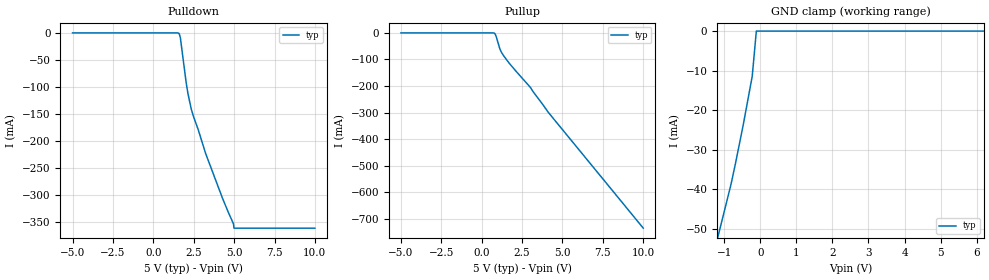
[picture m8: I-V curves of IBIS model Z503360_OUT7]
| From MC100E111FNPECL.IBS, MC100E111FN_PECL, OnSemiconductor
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| (C) COPYRIGHT 1993-2000
| MENTOR GRAPHICS CORPORATION
| ICX STANDARD LIBRARY, ICX PROJECT MODELING,
| ICX CUSTOM MODELING, ICX VENDOR MODEL
| ALL RIGHTS RESERVED.
| THE FOLLOWING ARE TRADEMARKS OR SERVICE MARKS OF
| MENTOR GRAPHICS CORPORATION:ICX (R), ICX STANDARD
| LIBRARY(R), ICX PROJECT MODELING(R), ICX CUSTOM
| MODELING(R), qualityIBIS(TM), MODELVIEWER(TM),
| AND MODELEDITOR(TM)
| ALL COPIES OF SOFTWARE, INCLUDING BUT NOT LIMITED TO
| ANY MODIFICATIONS, ENHANCEMENTS OR DERIVATIVE WORKS,
| MUST CONTAIN ALL MENTOR GRAPHICS CORPORATION'S
| NOTICES AND LEGENDS, INCLUDING THOSE EMBEDDED IN
| SOFTWARE AND THOSE AFFIXED TO SOFTWARE MEDIUM
| AND CONTAINER, AS RECEIVED FROM MENTOR GRAPHICS
| CORPORATION.
| Model Application Version 1.89 2/18/99.
[Model] Z503360_OUT7
Model_type Output_ECL
Vref=3.000V
Rref=50.00ohms
Cref=0.000F
Vmeas=3.677V
C_comp 8.000pF NA NA
| variable typ   min   max
[Voltage Range] 5.000V NA NA
[POWER Clamp Reference] 5.000V NA NA
[Pullup Reference] 5.000V NA NA
[Pulldown Reference] 5.000V NA NA
[GND Clamp Reference] 0.000V NA NA
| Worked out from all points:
|   GND clamp passes 1 mA (typ) near -0.12 V on its own axis
[GND Clamp]
-5V       -191.6mA   NA         NA
-815mV    -38.7mA    NA         NA
-693mV    -33.5mA    NA         NA
-470mV    -23.4mA    NA         NA
-227mV    -11.4mA    NA         NA
-113.5mV  0A         NA         NA
10V       0A         NA         NA
[Pulldown]
-5V       0A         NA         NA
1.572V    -700uA     NA         NA
1.613V    -2.3mA     NA         NA
1.674V    -9.2mA     NA         NA
2.039V    -93.8mA    NA         NA
2.141V    -112.3mA   NA         NA
2.344V    -140.8mA   NA         NA
3.236V    -223.5mA   NA         NA
4.271V    -305.9mA   NA         NA
4.961V    -354.1mA   NA         NA
4.992V    -362.1mA   NA         NA
10V       -362.1mA   NA         NA
[Pullup]
-5V       0A         NA         NA
796mV     -1.6mA     NA         NA
898mV     -14mA      NA         NA
1.121V    -59.7mA    NA         NA
1.222V    -73.1mA    NA         NA
1.689V    -112.9mA   NA         NA
3.008V    -204.6mA   NA         NA
4.124V    -298.9mA   NA         NA
10V       -734.3mA   NA         NA
[POWER Clamp]
-5V       0A         NA         NA
10V       0A         NA         NA
[Ramp]
| variable typ min max
dV/dt_r 476.3m/265.8p NA NA
dV/dt_f 476.3m/215.9p NA NA
R_load = 500.0Ohms
